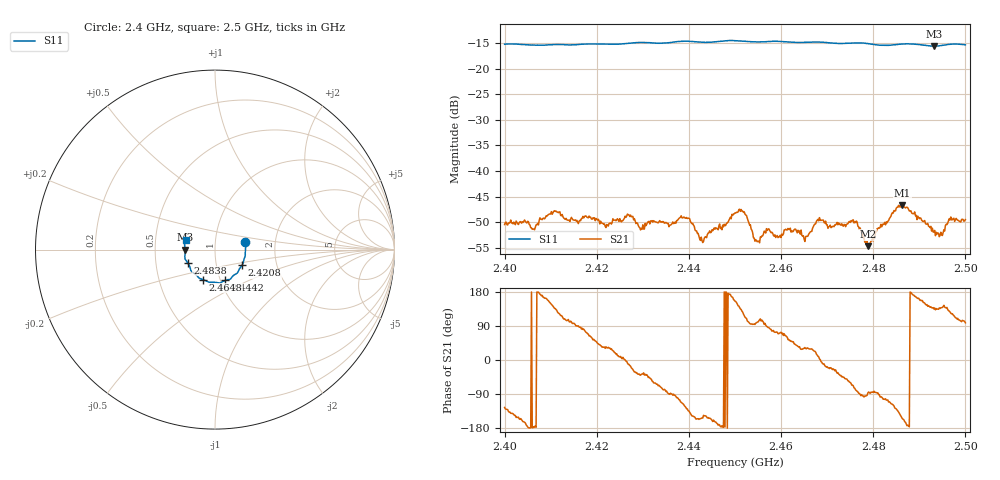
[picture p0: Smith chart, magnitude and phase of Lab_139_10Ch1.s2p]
# Hz S RI R 50
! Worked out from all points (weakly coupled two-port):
!   601 points, 2.4 GHz to 2.5 GHz, reference 50 ohm
!   highest |S21| = -46.65 dB at 2.4863 GHz (marker M1); lowest = -54.7 dB at 2.4788 GHz (marker M2)
!   lowest |S11| = -15.6 dB at 2.4932 GHz (marker M3), VSWR 1.40, Z = 35.8 - j0.0824 ohm
!   |S11| at or under -10 dB: start of sweep to end of sweep
!   S12 and S22 are empty: the file has one direction only
!   S11 on the Smith chart (normalised r, x): 2.4 GHz: 1.40, +0.12; 2.4208 GHz: 1.33, -0.24; 2.4442 GHz: 1.05, -0.37; 2.4648 GHz: 0.83, -0.29; 2.4838 GHz: 0.73, -0.11; 2.5 GHz: 0.72, +0.08
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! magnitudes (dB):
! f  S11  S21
! 2.4 GHz  -15.2  -50.5
! 2.4062 GHz  -15.4  -51.3
! 2.411 GHz  -15.3  -47.9
! 2.4167 GHz  -15.2  -49.3
! 2.4208 GHz  -15.2  -49.8
! 2.4333 GHz  -15.1  -50.1
! 2.4395 GHz  -14.6  -49.1
! 2.4427 GHz  -14.8  -52.9
! 2.4442 GHz  -14.9  -52.1
! 2.45 GHz  -14.5  -48.2
! 2.452 GHz  -14.7  -48.0
! 2.4548 GHz  -14.8  -53.8
! 2.457 GHz  -14.7  -51.6
! 2.4648 GHz  -14.9  -52.6
! 2.4667 GHz  -14.8  -51.8
! 2.476 GHz  -15.0  -50.0
! 2.4788 GHz  -15.1  -54.7
! 2.4833 GHz  -15.5  -49.7
! 2.4838 GHz  -15.4  -48.8
! 2.4863 GHz  -15.2  -46.6
! 2.4932 GHz  -15.6  -51.9
! 2.5 GHz  -15.4  -49.5
